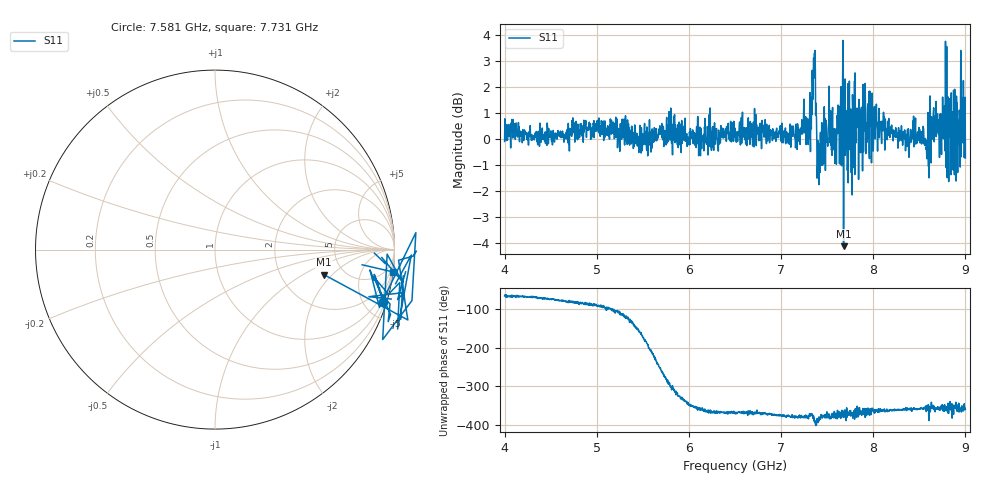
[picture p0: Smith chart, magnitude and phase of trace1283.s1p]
! Created with skrf 1.8.0 (http://scikit-rf.org).
# Hz S RI R 50.0
!freq ReS11 ImS11
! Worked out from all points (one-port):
!   1601 points, 4 GHz to 9 GHz, reference 50 ohm
!   lowest |S11| = -4.1 dB at 7.678 GHz (marker M1), VSWR 4.31, Z = 176 - j80.5 ohm
!   |S11| at or under -10 dB: nowhere
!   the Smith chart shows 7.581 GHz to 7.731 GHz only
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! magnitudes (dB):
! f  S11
! 4 GHz  -0.1
! 4.625 GHz  0.1
! 5.25 GHz  -0.5
! 5.875 GHz  -0.2
! 6.5 GHz  0.4
! 7.125 GHz  0.2
! 7.294 GHz  -0.2
! 7.356 GHz  2.9
! 7.412 GHz  -1.7
! 7.509 GHz  0.3
! 7.575 GHz  0.4
! 7.65 GHz  2.0
! 7.678 GHz  -4.1
! 7.691 GHz  1.0
! 7.703 GHz  -0.4
! 7.75 GHz  -0.4
! 7.769 GHz  0.1
! 7.822 GHz  0.5
! 7.962 GHz  1.8
! 8.375 GHz  0.0
! 8.441 GHz  -0.3
! 8.581 GHz  -0.8
! 8.656 GHz  1.2
! 8.725 GHz  1.0
! 8.775 GHz  1.3
! 8.875 GHz  0.5
! 8.956 GHz  0.1
! 9 GHz  -0.7
